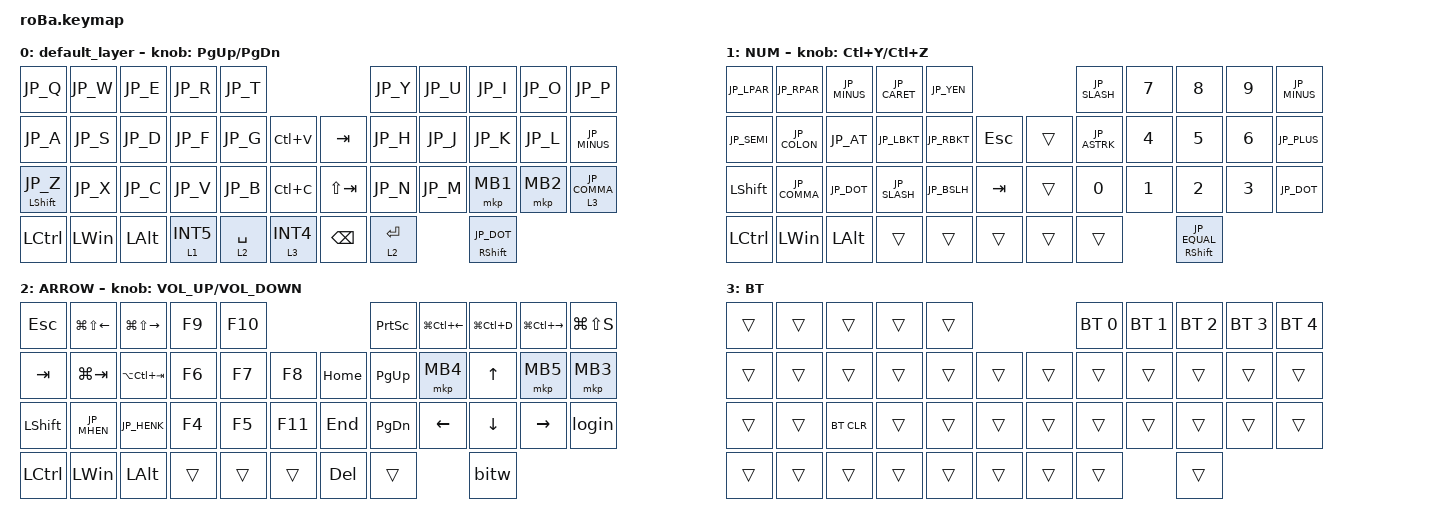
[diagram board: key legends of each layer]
#include "keymap.h"
#include <behaviors.dtsi>
#include <dt-bindings/zmk/bt.h>
#include <dt-bindings/zmk/keys.h>
#include <dt-bindings/zmk/pointing.h>

&mt {
    flavor = "balanced";
    quick-tap-ms = <0>;
};

&trackball {
    scroll-layers = <3>;

    // arrows {
    //     layers = <3>;
    //     bindings =
    //         <&kp RIGHT_ARROW>,
    //         <&kp LEFT_ARROW>,
    //         <&kp UP_ARROW>,
    //         <&kp DOWN_ARROW>;
    //     tick = <10>;
    //     wait-ms = <5>;
    //     tap-ms = <5>;
    // };
};

/ {
    combos { compatible = "zmk,combos"; };

    macros {
        to_layer_0: to_layer_0 {
            compatible = "zmk,behavior-macro-one-param";
            #binding-cells = <1>;
            bindings = <&to 0 &macro_param_1to1 &kp MACRO_PLACEHOLDER>;
            label = "TO_LAYER_0";
        };

        login: login {
            compatible = "zmk,behavior-macro";
            #binding-cells = <0>;
            bindings = <&kp N3 &kp N9 &kp LS(H) &kp O &kp T &kp S &kp P &kp A &kp C &kp E>;
            label = "LOGIN";
        };

        bitw: bitw {
            compatible = "zmk,behavior-macro";
            #binding-cells = <0>;
            bindings = <&kp LS(I) &kp N &kp N &kp U &kp E &kp N &kp D &kp O &kp JP_AT &kp N3 &kp N6 &kp N6 &kp N4>;
            label = "BITW";
        };
    };

    behaviors {
        lt_to_layer_0: lt_to_layer_0 {
            compatible = "zmk,behavior-hold-tap";
            label = "LAYER_TAP_TO_0";
            bindings = <&mo>, <&to_layer_0>;

            #binding-cells = <2>;
            tapping-term-ms = <200>;
            flavor = "tap-unless-interrupted";
        };
    };

    keymap {
        compatible = "zmk,keymap";

        default_layer {
            bindings = <
&kp JP_Q             &kp JP_W         &kp JP_E         &kp JP_R                  &kp JP_T                                                  &kp JP_Y        &kp JP_U  &kp JP_I     &kp JP_O     &kp JP_P
&kp JP_A             &kp JP_S         &kp JP_D         &kp JP_F                  &kp JP_G        &kp LC(V)                  &kp TAB        &kp JP_H        &kp JP_J  &kp JP_K     &kp JP_L     &kp JP_MINUS
&mt LEFT_SHIFT JP_Z  &kp JP_X         &kp JP_C         &kp JP_V                  &kp JP_B        &kp LC(C)                  &kp LS(TAB)    &kp JP_N        &kp JP_M  &mkp MB1  &mkp MB2  &lt_to_layer_0 3 JP_COMMA
&kp LEFT_CONTROL  &kp LEFT_WIN  &kp LEFT_ALT  &lt_to_layer_0 1 INT5  &lt 2 SPACE  &lt_to_layer_0 3 INT4      &kp BACKSPACE  &lt 2 ENTER                             &mt RIGHT_SHIFT JP_DOT
            >;

            sensor-bindings = <&inc_dec_kp PG_UP PAGE_DOWN>;
        };

        NUM {
            bindings = <
&kp JP_LPAR       &kp JP_RPAR   &kp JP_MINUS  &kp JP_CARET  &kp JP_YEN                           &kp JP_SLASH  &kp N7  &kp N8  &kp N9  &kp JP_MINUS
&kp JP_SEMI       &kp JP_COLON  &kp JP_AT     &kp JP_LBKT   &kp JP_RBKT  &kp ESCAPE      &trans  &kp JP_ASTRK  &kp N4  &kp N5  &kp N6  &kp JP_PLUS
&kp LEFT_SHIFT    &kp JP_COMMA  &kp JP_DOT    &kp JP_SLASH  &kp JP_BSLH  &kp TAB         &trans  &kp N0        &kp N1  &kp N2  &kp N3  &kp JP_DOT
&kp LEFT_CONTROL  &kp LEFT_WIN  &kp LEFT_ALT  &trans        &trans       &trans          &trans  &trans                                &mt RIGHT_SHIFT JP_EQUAL
            >;

            sensor-bindings = <&inc_dec_kp LC(Y) LC(Z)>;
        };

        ARROW {
            bindings = <
&kp ESCAPE        &kp LG(LS(LEFT_ARROW))  &kp LG(LS(RIGHT_ARROW))  &kp F9  &kp F10                           &kp PRINTSCREEN  &kp LG(LC(LEFT_ARROW))  &kp LG(LC(D))   &kp LG(LC(RIGHT_ARROW))  &kp LG(LS(S))
&kp TAB           &kp LG(TAB)             &kp LA(LC(TAB))          &kp F6  &kp F7   &kp F8       &kp HOME    &kp PAGE_UP      &mkp MB4                &kp UP_ARROW    &mkp MB5                 &mkp MB3
&kp LEFT_SHIFT    &kp JP_MHEN             &kp JP_HENK              &kp F4  &kp F5   &kp F11      &kp END     &kp PAGE_DOWN    &kp LEFT_ARROW          &kp DOWN_ARROW  &kp RIGHT_ARROW          &login
&kp LEFT_CONTROL  &kp LEFT_WIN            &kp LEFT_ALT             &trans  &trans   &trans       &kp DELETE  &trans                                                                            &bitw
            >;

            sensor-bindings = <&inc_dec_kp C_VOLUME_UP C_VOLUME_DOWN>;
        };

        BT {
            bindings = <
&trans  &trans  &trans      &trans  &trans                      &bt BT_SEL 0  &bt BT_SEL 1  &bt BT_SEL 2  &bt BT_SEL 3  &bt BT_SEL 4
&trans  &trans  &trans      &trans  &trans  &trans      &trans  &trans        &trans        &trans        &trans        &trans
&trans  &trans  &bt BT_CLR  &trans  &trans  &trans      &trans  &trans        &trans        &trans        &trans        &trans
&trans  &trans  &trans      &trans  &trans  &trans      &trans  &trans                                                  &trans
            >;
        };
    };
};
